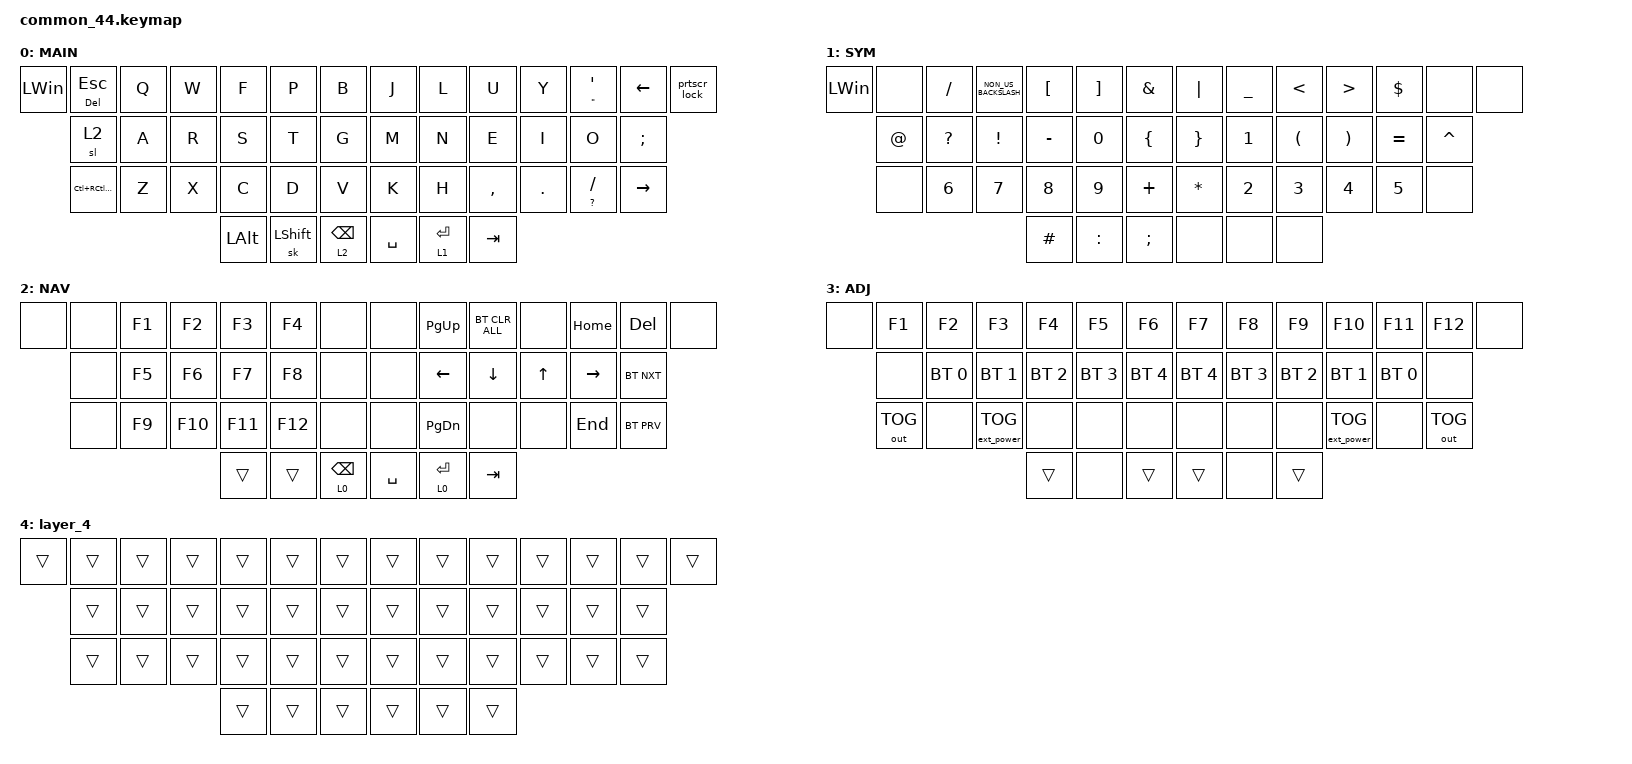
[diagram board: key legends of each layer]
/*
 * Copyright (c) 2020 The ZMK Contributors
 *
 * SPDX-License-Identifier: MIT
 */

#include <behaviors.dtsi>
#include <dt-bindings/zmk/bt.h>
#include <dt-bindings/zmk/ext_power.h>
#include <dt-bindings/zmk/keys.h>
#include <dt-bindings/zmk/outputs.h>

#define DEF 0
#define LWR 1
#define RSE 2
#define ADJ 3

&lt { quick-tap-ms = <200>; };

&mt { quick-tap-ms = <200>; };

/ {
    macros {
        Lock: Lock {
            compatible = "zmk,behavior-macro";
            label = "LOCK";
            #binding-cells = <0>;
            bindings =
                <&macro_press>,
                <&kp LEFT_GUI>,
                <&macro_tap>,
                <&kp L>,
                <&macro_release>,
                <&kp LEFT_GUI>;
        };

        lang: lang {
            compatible = "zmk,behavior-macro";
            label = "LANG";
            #binding-cells = <0>;
            bindings =
                <&macro_press>,
                <&kp LEFT_GUI>,
                <&macro_tap>,
                <&kp SPACE>,
                <&macro_release>,
                <&kp LEFT_GUI>;
        };
    };

    behaviors {
        shift_lang: shift_lang {
            compatible = "zmk,behavior-hold-tap";
            label = "SHIFT_LANG";
            bindings = <&kp>, <&lang>;

            #binding-cells = <2>;
            hold-trigger-key-positions = <43>;
            tapping-term-ms = <200>;
        };

        prtscr_lock: prtscr_lock {
            compatible = "zmk,behavior-tap-dance";
            label = "PRTSCR_LOCK";
            #binding-cells = <0>;
            bindings = <&kp PRINTSCREEN>, <&Lock>;
        };
    };

    conditional_layers { compatible = "zmk,conditional-layers"; };

    combos {
        compatible = "zmk,combos";

        Bootloader_Reset {
            bindings = <&bootloader>;
            key-positions = <0 13>;
            layers = <2 0>;
            slow-release;
            timeout-ms = <5000>;
            require-prior-idle-ms = <5>;
        };

        bootloader_reset2 {
            bindings = <&bootloader>;
            key-positions = <0 1 14 13 12 25>;
            require-prior-idle-ms = <3000>;
            timeout-ms = <3000>;
            layers = <0 2 1 3>;
        };

        bootloader_reset3 {
            bindings = <&bootloader>;
            key-positions = <0 13>;
            timeout-ms = <5000>;
            require-prior-idle-ms = <5000>;
            layers = <0>;
            slow-release;
        };

        bootloader_reset5 {
            bindings = <&bootloader>;
            key-positions = <0 1 14>;
            timeout-ms = <3000>;
            require-prior-idle-ms = <5000>;
            slow-release;
        };

        bootloader_reset6 {
            bindings = <&none>;
            key-positions = <26 14>;
            slow-release;
            timeout-ms = <3000>;
            require-prior-idle-ms = <4000>;
            layers = <0 1 3 2>;
        };
    };

    keymap {
        compatible = "zmk,keymap";

        default_layer {
            label = "MAIN";

            // -----------------------------------------------------------------------------------------
            // |  GUI |   ~  |  Q  |  W  |  E  |  R  |  T  |   |  Y  |  U   |  I  |  O  |  P  |  [   | GUI/] |
            //        | CTRL |  A  |  S  |  D  |  F  |  G  |   |  H  |  J   |  K  |  L  |  ;  |CTRL/'|
            //        | LALT |  Z  |  X  |  C  |  V  |  B  |   |  N  |  M   |  ,  |  .  |  /  | RALT |
            //                           | RSE | SPC | LWR |   | LWR | BKSP | RSE |

            bindings = <
&kp LEFT_WIN  &mt DELETE ESCAPE         &kp Q  &kp W  &kp F         &kp P           &kp B              &kp J      &kp L        &kp U      &kp Y    &mt DOUBLE_QUOTES SINGLE_QUOTE  &kp LEFT   &prtscr_lock
              &sl 2                     &kp A  &kp R  &kp S         &kp T           &kp G              &kp M      &kp N        &kp E      &kp I    &kp O                           &kp SEMI
              &kp LC(RC(LEFT_CONTROL))  &kp Z  &kp X  &kp C         &kp D           &kp V              &kp K      &kp H        &kp COMMA  &kp DOT  &mt QUESTION FSLH               &kp RIGHT
                                                      &kp LEFT_ALT  &sk LEFT_SHIFT  &lt 2 BACKSPACE    &kp SPACE  &lt 1 ENTER  &kp TAB
            >;
        };

        num_sym_layer {
            label = "SYM";

            // -----------------------------------------------------------------------------------------
            // |     |  _  |  F1 |  F2 |  F3 |  F4 |  F5 |   |  F6 |  F7 |  F8 |  F9 | F10 | F11 | F12 |
            //       |  +  |  !  |  @  |  #  |  $  |  %  |   |  ^  |  &  |  *  |  (  |  )  |  -  |
            //       |  =  |  1  |  2  |  3  |  4  |  5  |   |  6  |  7  |  8  |  9  |  0  |     |
            //                    | GUI |     | SPC |   | ENT |     | ALT |

            bindings = <
&kp LEFT_WIN  &none        &kp SLASH     &kp NON_US_BACKSLASH  &kp LEFT_BRACKET  &kp RIGHT_BRACKET  &kp AMPERSAND     &kp PIPE         &kp UNDERSCORE  &kp LESS_THAN         &kp GREATER_THAN       &kp DOLLAR  &none      &none
              &kp AT_SIGN  &kp QUESTION  &kp EXCLAMATION       &kp MINUS         &kp N0             &kp LEFT_BRACE    &kp RIGHT_BRACE  &kp NUMBER_1    &kp LEFT_PARENTHESIS  &kp RIGHT_PARENTHESIS  &kp EQUAL   &kp CARET
              &none        &kp NUMBER_6  &kp N7                &kp N8            &kp NUMBER_9       &kp PLUS          &kp ASTRK        &kp NUMBER_2    &kp NUMBER_3          &kp NUMBER_4           &kp N5      &none
                                                               &kp HASH          &kp COLON          &kp SEMICOLON     &none            &none           &none
            >;
        };

        nav_layer {
            label = "NAV";

            // -----------------------------------------------------------------------------------------
            // |     | NMLK |  /  |  7  |  8  |  9  |  -  |   | VOLU| HOME| PRSC| PGUP| SCLK| CLCK|     |
            //       | CTRL |  *  |  4  |  5  |  6  |  +  |   | MUT | LEFT|  UP | RGHT| INS | APP |
            //       |      |  0  |  1  |  2  |  3  |  .  |   | VOLD| END | DOWN| PGDN| PAUS|     |
            //                          |     |     | ADJ |   | ADJ |     |     |

            bindings = <
&none  &none  &kp F1  &kp F2   &kp F3   &kp F4   &none              &none      &kp PAGE_UP     &bt BT_CLR_ALL  &none         &kp HOME   &kp DELETE  &none
       &none  &kp F5  &kp F6   &kp F7   &kp F8   &none              &none      &kp LEFT_ARROW  &kp DOWN_ARROW  &kp UP_ARROW  &kp RIGHT  &bt BT_NXT
       &none  &kp F9  &kp F10  &kp F11  &kp F12  &none              &none      &kp PAGE_DOWN   &none           &none         &kp END    &bt BT_PRV
                               &trans   &trans   &lt 0 BACKSPACE    &kp SPACE  &lt 0 ENTER     &kp TAB
            >;
        };

        function_layer {
            label = "ADJ";

            // -----------------------------------------------------------------------------------------
            // | RST | BLDR |     |     |     |     |     |   |     |     |     |     |     | BLDR | RST |
            //       | BTCLR| BT0 | BT1 | BT2 | BT3 | BT4 |   | BT4 | BT3 | BT2 | BT1 | BT0 | BTCLR|
            //       |      |     |     |     |     |     |   |     |     |     |     |     |      |
            //                          |     |     |     |   |     |     |     |

            bindings = <
&none  &kp F1        &kp F2        &kp F3             &kp F4        &kp F5        &kp F6          &kp F7        &kp F8        &kp F9        &kp F10            &kp F11       &kp F12       &none
       &none         &bt BT_SEL 0  &bt BT_SEL 1       &bt BT_SEL 2  &bt BT_SEL 3  &bt BT_SEL 4    &bt BT_SEL 4  &bt BT_SEL 3  &bt BT_SEL 2  &bt BT_SEL 1       &bt BT_SEL 0  &none
       &out OUT_TOG  &none         &ext_power EP_TOG  &none         &none         &none           &none         &none         &none         &ext_power EP_TOG  &none         &out OUT_TOG
                                                      &trans        &none         &trans          &trans        &none         &trans
            >;
        };

        layer_4 {
            bindings = <
&trans  &trans  &trans  &trans  &trans  &trans  &trans    &trans  &trans  &trans  &trans  &trans  &trans  &trans
        &trans  &trans  &trans  &trans  &trans  &trans    &trans  &trans  &trans  &trans  &trans  &trans
        &trans  &trans  &trans  &trans  &trans  &trans    &trans  &trans  &trans  &trans  &trans  &trans
                                &trans  &trans  &trans    &trans  &trans  &trans
            >;
        };
    };
};
